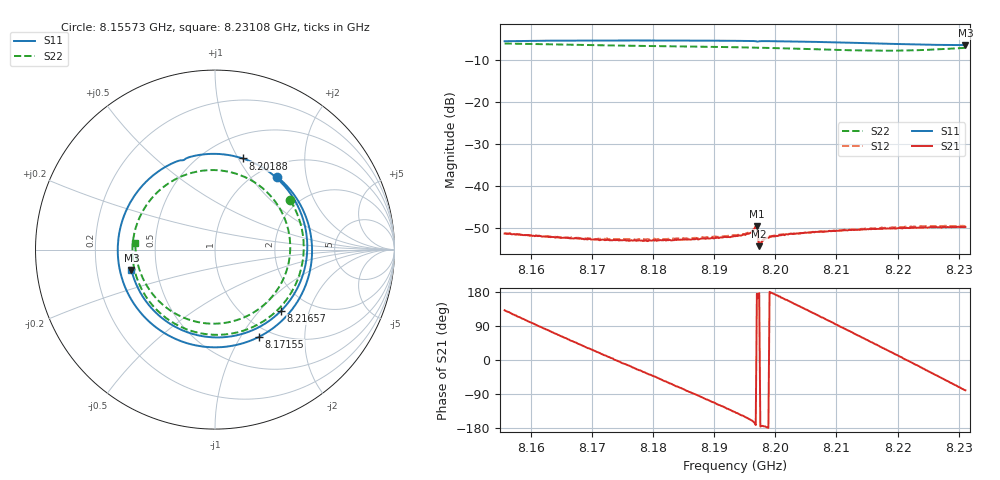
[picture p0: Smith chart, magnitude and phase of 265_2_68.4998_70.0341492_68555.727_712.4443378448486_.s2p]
#  HZ  S  RI  R  50.00
! Rohde & Schwarz Vector Network Analyzer
! Rohde-Schwarz,ZNB20-2Port,1311601062101988,3.16
! Created: UTC 3/20/2024, 5:00:25 PM
! freq[Hz]  re:S11  im:S11  re:S21  im:S21  re:S12  im:S12  re:S22  im:S22
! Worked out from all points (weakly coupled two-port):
!   401 points, 8.15573 GHz to 8.23108 GHz, reference 50 ohm
!   highest |S21| = -49.56 dB at 8.19698 GHz (marker M1); lowest = -54.3 dB at 8.19736 GHz (marker M2)
!   lowest |S11| = -6.4 dB at 8.23108 GHz (marker M3), VSWR 2.84, Z = 17.8 - j5.24 ohm
!   |S11| at or under -10 dB: nowhere
!   |S22| runs from -7.7 to -6.0 dB; largest |S21 - S12| = 0.00024
!   S11 on the Smith chart (normalised r, x): 8.15573 GHz: 1.20, +1.37; 8.17155 GHz: 0.87, -1.21; 8.20188 GHz: 0.74, +1.04; 8.21657 GHz: 1.44, -1.32; 8.23108 GHz: 0.36, -0.10
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8.155731e9  0.3448 0.4069  -0.00179 0.00205  -0.00176 0.00208  0.4191 0.2744
8.162135e9  0.5392 0.0362  0.000286 0.0025  0.00028 0.0025  0.481 -0.1018
8.168351e9  0.4141 -0.3523  0.00183 0.00147  0.00186 0.00151  0.2748 -0.3959
8.171554e9  0.245 -0.4862  0.00221 0.000624  0.00227 0.000662  0.104 -0.4656
8.176263e9  -0.0676 -0.5402  0.00215 -0.000626  0.00223 -0.000655  -0.1606 -0.4428
8.180972e9  -0.3589 -0.4082  0.00148 -0.0017  0.00148 -0.00183  -0.3691 -0.2841
8.187189e9  -0.5412 -0.0288  -9.64e-05 -0.00237  -0.000157 -0.00239  -0.4575 0.0426
8.190203e9  -0.5104 0.1785  -0.00099 -0.0022  -0.00107 -0.00226  -0.4091 0.2019
8.193405e9  -0.3934 0.3685  -0.00186 -0.00171  -0.00197 -0.00171  -0.2981 0.34
8.196607e9  -0.2055 0.494  -0.003 -0.000762  -0.00307 -0.000684  -0.1407 0.4246
8.196984e9  -0.179 0.4978  -0.00331 0.000292  -0.00337 0.000482  -0.1203 0.4301
8.197361e9  -0.1625 0.5074  -0.00192 0.000121  -0.00199 0.000223  -0.0998 0.4347
8.197737e9  -0.1359 0.5172  -0.00213 -0.000217  -0.00218 -0.000187  -0.0787 0.4384
8.201882e9  0.1545 0.5077  -0.00249 0.000974  -0.00242 0.0011  0.1527 0.4101
8.206026e9  0.3947 0.3453  -0.00163 0.00232  -0.00155 0.00239  0.3391 0.2627
8.2113e9  0.5138 -0.00277  0.000371 0.00296  0.000453 0.003  0.4163 -0.037
8.216575e9  0.3662 -0.343  0.00235 0.00201  0.00246 0.00195  0.2597 -0.3189
8.218647e9  0.2459 -0.4317  0.00288 0.00122  0.00299 0.00114  0.1435 -0.3853
8.221472e9  0.0507 -0.4882  0.00317 -1.22e-05  0.00326 -0.000108  -0.0404 -0.4117
8.224298e9  -0.1509 -0.4615  0.00294 -0.00127  0.00297 -0.00148  -0.2217 -0.356
8.227877e9  -0.362 -0.3169  0.00192 -0.00259  0.00186 -0.00281  -0.3914 -0.1807
8.231079e9  -0.4657 -0.1132  0.000565 -0.00321  0.000393 -0.00334  -0.4434 0.0351
